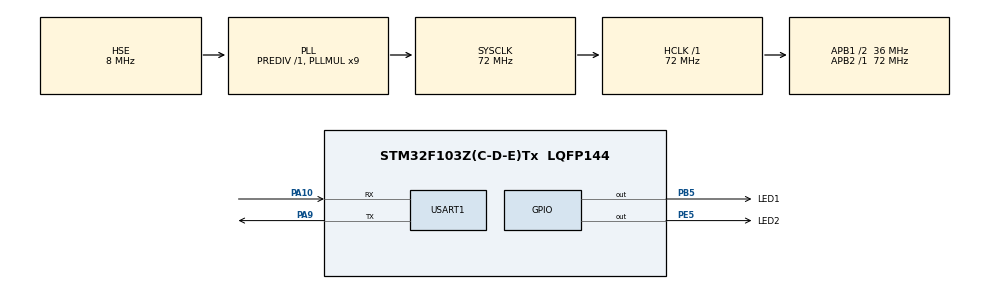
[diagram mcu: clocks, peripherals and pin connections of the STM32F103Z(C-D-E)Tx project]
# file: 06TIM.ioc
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Mcu.Family=STM32F1
Mcu.Name=STM32F103Z(C-D-E)Tx
Mcu.Package=LQFP144
NVIC.PriorityGroup=NVIC_PRIORITYGROUP_4
NVIC.TIM1_UP_IRQn=true\:0\:0\:false\:false\:true\:true\:true\:true
OSC_IN.Mode=HSE-External-Oscillator
OSC_IN.Signal=RCC_OSC_IN
OSC_OUT.Mode=HSE-External-Oscillator
OSC_OUT.Signal=RCC_OSC_OUT
PA10.Mode=Asynchronous
PA10.Signal=USART1_RX
PA13.Mode=Serial_Wire
PA13.Signal=SYS_JTMS-SWDIO
PA14.Mode=Serial_Wire
PA14.Signal=SYS_JTCK-SWCLK
PA9.Mode=Asynchronous
PA9.Signal=USART1_TX
PB5.GPIO_Label=LED1
PB5.PinState=GPIO_PIN_SET
PB5.Signal=GPIO_Output
PE5.GPIO_Label=LED2
PE5.PinState=GPIO_PIN_SET
PE5.Signal=GPIO_Output
ProjectManager.HeapSize=0x200
ProjectManager.StackSize=0x400
ProjectManager.TargetToolchain=STM32CubeIDE
RCC.AHBFreq_Value=72000000
RCC.APB1CLKDivider=RCC_HCLK_DIV2
RCC.APB1Freq_Value=36000000
RCC.APB1TimFreq_Value=72000000
RCC.APB2Freq_Value=72000000
RCC.APB2TimFreq_Value=72000000
RCC.HCLKFreq_Value=72000000
RCC.PLLMUL=RCC_PLL_MUL9
RCC.PLLSourceVirtual=RCC_PLLSOURCE_HSE
RCC.SYSCLKFreq_VALUE=72000000
RCC.SYSCLKSource=RCC_SYSCLKSOURCE_PLLCLK
RCC.USBFreq_Value=72000000
TIM1.AutoReloadPreload=TIM_AUTORELOAD_PRELOAD_ENABLE
TIM1.Period=9999
TIM1.Prescaler=7199
USART1.VirtualMode=VM_ASYNC
VP_TIM1_VS_ClockSourceINT.Mode=Internal
board=custom

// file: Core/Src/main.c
/* USER CODE BEGIN Header */
/**
  ******************************************************************************
  * @file           : main.c
  * @brief          : Main program body
  ******************************************************************************
  * @attention
  *
  * Copyright (c) 2024 STMicroelectronics.
  * All rights reserved.
  *
  * This software is licensed under terms that can be found in the LICENSE file
  * in the root directory of this software component.
  * If no LICENSE file comes with this software, it is provided AS-IS.
  *
  ******************************************************************************
  */
/* USER CODE END Header */
#include "main.h"
#include "tim.h"
#include "usart.h"
#include "gpio.h"

/* USER CODE BEGIN PV */
uint8_t UART_Buf[200];
uint32_t G_TIM_Count = 0;
uint8_t G_UART_Flag = 0;
/* USER CODE END PV */

void SystemClock_Config(void);

int main(void)
{

  /* MCU Configuration--------------------------------------------------------*/

  /* Reset of all peripherals, Initializes the Flash interface and the Systick. */
  HAL_Init();

  /* Configure the system clock */
  SystemClock_Config();

  /* Initialize all configured peripherals */
  MX_GPIO_Init();
  MX_TIM1_Init();
  MX_USART1_UART_Init();
  /* USER CODE BEGIN 2 */
  HAL_TIM_Base_Start_IT(&htim1);
  /* USER CODE END 2 */

  /* Infinite loop */
  /* USER CODE BEGIN WHILE */
  while (1)
  {
	  if(1 == G_UART_Flag)
	  {
		  printf("MCU stm32 run time is %lus \n",G_TIM_Count);

		  G_UART_Flag = 0;
	  }

    /* USER CODE END WHILE */

  }
}

void SystemClock_Config(void)
{
  RCC_OscInitTypeDef RCC_OscInitStruct = {0};
  RCC_ClkInitTypeDef RCC_ClkInitStruct = {0};

  /** Initializes the RCC Oscillators according to the specified parameters
  * in the RCC_OscInitTypeDef structure.
  */
  RCC_OscInitStruct.OscillatorType = RCC_OSCILLATORTYPE_HSE;
  RCC_OscInitStruct.HSEState = RCC_HSE_ON;
  RCC_OscInitStruct.HSEPredivValue = RCC_HSE_PREDIV_DIV1;
  RCC_OscInitStruct.HSIState = RCC_HSI_ON;
  RCC_OscInitStruct.PLL.PLLState = RCC_PLL_ON;
  RCC_OscInitStruct.PLL.PLLSource = RCC_PLLSOURCE_HSE;
  RCC_OscInitStruct.PLL.PLLMUL = RCC_PLL_MUL9;
  if (HAL_RCC_OscConfig(&RCC_OscInitStruct) != HAL_OK)
  {
    Error_Handler();
  }

  /** Initializes the CPU, AHB and APB buses clocks
  */
  RCC_ClkInitStruct.ClockType = RCC_CLOCKTYPE_HCLK|RCC_CLOCKTYPE_SYSCLK
                              |RCC_CLOCKTYPE_PCLK1|RCC_CLOCKTYPE_PCLK2;
  RCC_ClkInitStruct.SYSCLKSource = RCC_SYSCLKSOURCE_PLLCLK;
  RCC_ClkInitStruct.AHBCLKDivider = RCC_SYSCLK_DIV1;
  RCC_ClkInitStruct.APB1CLKDivider = RCC_HCLK_DIV2;
  RCC_ClkInitStruct.APB2CLKDivider = RCC_HCLK_DIV1;

  if (HAL_RCC_ClockConfig(&RCC_ClkInitStruct, FLASH_LATENCY_2) != HAL_OK)
  {
    Error_Handler();
  }
}

/* USER CODE BEGIN 4 */
void HAL_TIM_PeriodElapsedCallback(TIM_HandleTypeDef *htim)
{
	if(htim == &htim1)
	{
		HAL_GPIO_TogglePin(LED1_GPIO_Port, LED1_Pin);
		G_TIM_Count++;
		  if(1 == G_TIM_Count%5)
		  {
			  G_UART_Flag = 1;
		  }
		  if(0 == G_TIM_Count%2)
		  {
			  HAL_GPIO_TogglePin(LED2_GPIO_Port, LED2_Pin);
		  }
	}

}
/* USER CODE END 4 */

void Error_Handler(void)
{
  __disable_irq();
  while (1)
  {
  }
}
